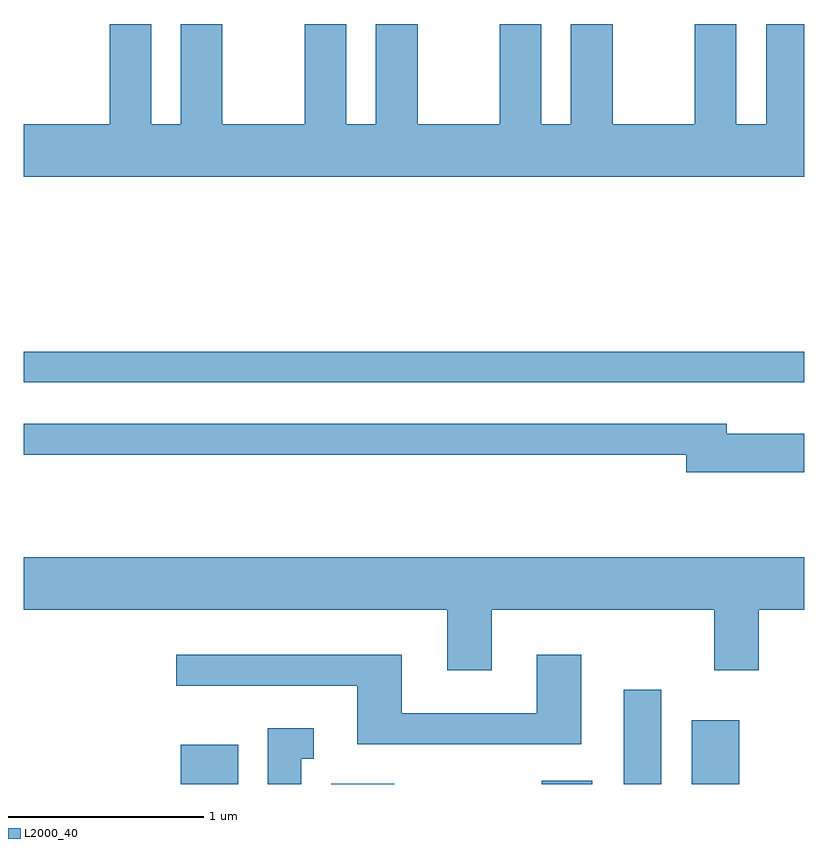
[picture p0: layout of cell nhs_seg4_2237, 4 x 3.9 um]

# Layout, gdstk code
import gdstk
lib = gdstk.Library(unit=1e-6, precision=1e-09)
def R(c, l, rs):  # rectangles x0, y0, x1, y1
    for r in rs: c.add(gdstk.rectangle(r[:2], r[2:], *l))
def P(c, l, *ps):  # polygons
    for p in ps: c.add(gdstk.Polygon(p, *l))
L2000_40 = (2000, 40)

nhs_seg4_2237 = lib.new_cell('nhs_seg4_2237')
R(nhs_seg4_2237, L2000_40, [(250.416,1375.982,250.709,1376.184), (251.186,1375.982,251.509,1375.984), (252.266,1375.982,252.524,1375.999), (252.686,1375.982,252.879,1376.464), (253.036,1375.982,253.279,1376.309), (249.611,1378.041,253.611,1378.199)])
P(nhs_seg4_2237, L2000_40, [(252.051,1379.879),(252.051,1379.364),(251.629,1379.364),(251.629,1379.879),(251.416,1379.879),(251.416,1379.364),(251.264,1379.364),(251.264,1379.879),(251.051,1379.879),(251.051,1379.364),(250.629,1379.364),(250.629,1379.879),(250.416,1379.879),(250.416,1379.364),(250.264,1379.364),(250.264,1379.879),(250.051,1379.879),(250.051,1379.364),(249.611,1379.364),(249.611,1379.096),(253.611,1379.096),(253.611,1379.879),(253.416,1379.879),(253.416,1379.364),(253.264,1379.364),(253.264,1379.879),(253.051,1379.879),(253.051,1379.364),(252.629,1379.364),(252.629,1379.879),(252.416,1379.879),(252.416,1379.364),(252.264,1379.364),(252.264,1379.879)],
  [(253.611,1377.779),(253.214,1377.779),(253.214,1377.829),(249.611,1377.829),(249.611,1377.671),(253.006,1377.671),(253.006,1377.581),(253.611,1377.581)],
  [(252.009,1376.876),(253.151,1376.876),(253.151,1376.566),(253.379,1376.566),(253.379,1376.876),(253.611,1376.876),(253.611,1377.144),(249.611,1377.144),(249.611,1376.876),(251.781,1376.876),(251.781,1376.566),(252.009,1376.566)],
  [(252.469,1376.644),(252.241,1376.644),(252.241,1376.344),(251.549,1376.344),(251.549,1376.644),(250.393,1376.644),(250.393,1376.486),(251.321,1376.486),(251.321,1376.186),(252.469,1376.186)],
  [(251.034,1376.111),(251.098,1376.111),(251.098,1376.269),(250.861,1376.269),(250.861,1375.982),(251.034,1375.982)])

lib.write_gds('nhs_seg4_2237.gds')
